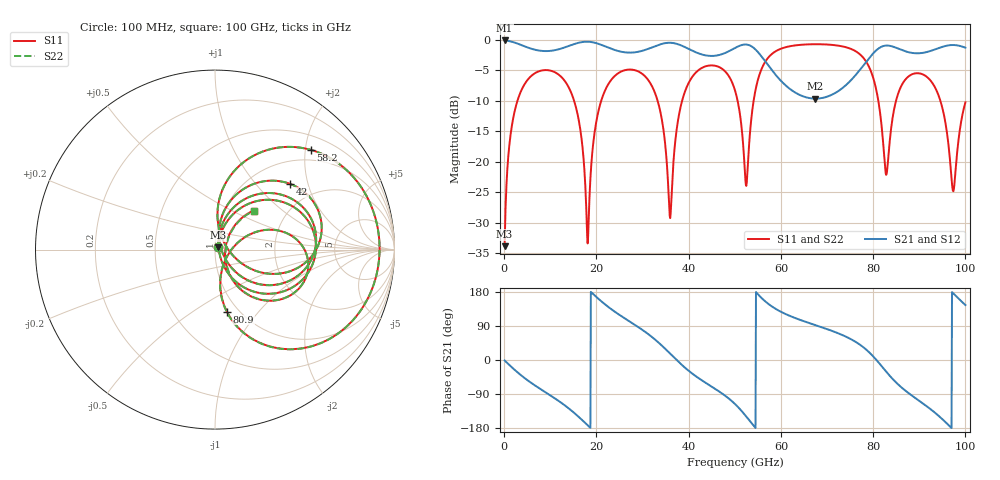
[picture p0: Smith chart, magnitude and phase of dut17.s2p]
! Touchstone file exported from HFSS 2026.1.0
!  File:  C:/ffzhzh/LocalFiles/Ansys_Project_Files/temp_train_TSV_RDL_17_1783614074_33328.aedt
!  Generated:  12:31:33 AM Jul 10, 2026
!  Design:  TSV_RDL
!  Project:  temp_train_TSV_RDL_17_1783614074_33328
! Variables:
!  h_bsmrdl = 4.06um
!  h_ox = 20um
!  h_rdl = 5um
!  h_sub = 80.31um
!  h_tmrdl = 3.18um
!  h_tsv = 80.31um
!  h_via = 3um
!  l_bsmrdl = 226.75um
!  l_sub = 3115.44um
!  l_tmrdl = 475.01um
!  m_sub = 200um
!  pitch = 54.62um
!  r_tsv = 8.07um
!  s_tmrdl = 10um
!  w_bsmrdl = 27.21um
!  w_sub = 500um
!  w_tmrdl = 17.84um
!  x_tsv_center1 = 483.93um
!  x_tsv_center2 = 737.89um
!  x_tsv_center3 = 1230.74um
!  x_tsv_center4 = 1484.7um
!  x_tsv_center5 = 1977.55um
!  x_tsv_center6 = 2231.51um
# GHz S MA R 50.000000
! Terminal data exported
! Port[1] = TM_RDL1_1_T1
! Port[2] = TM_RDL5_1_T1
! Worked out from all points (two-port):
!   1000 points, 100 MHz to 100 GHz, reference 50 ohm
!   highest |S21| = -0.14 dB at 100 MHz (marker M1); lowest = -9.7 dB at 67.5 GHz (marker M2)
!   |S21| within 3 dB of the highest: start of sweep to 56.18 GHz; 79.02 GHz to end of sweep
!   lowest |S11| = -33.8 dB at 100 MHz (marker M3), VSWR 1.04, Z = 51.6 + j1.3 ohm
!   |S11| at or under -10 dB: 15.15 GHz to 21.05 GHz (5.899 GHz wide, 32.6 % of centre); 33.26 GHz to 38.59 GHz (5.329 GHz wide, 14.8 % of centre); 94.57 GHz to end of sweep (the widest 3 of 6)
!   |S22| runs from -33.8 to -0.8 dB; largest |S21 - S12| = 1.7e-14
!   S11 on the Smith chart (normalised r, x): 100 MHz: 1.03, +0.03; 42 GHz: 1.47, +1.55; 58.2 GHz: 0.77, +2.12; 80.9 GHz: 0.88, -0.70; 100 GHz: 1.37, +0.66
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0.1  0.02031 38.4  0.9843 -1.2  0.9843 -1.2  0.02031 38.4
! Gamma 0 0 0 0
! Port Impedance 50 0 50 0
1.8  0.2102 63.8  0.9579 -20.8  0.9579 -20.8  0.2102 63.8
5.5  0.4881 30.4  0.8514 -57.2  0.8514 -57.2  0.4881 30.4
16.8  0.1521 -60.8  0.9534 -157.2  0.9534 -157.2  0.152 -60.9
18.1  0.0214 4.7  0.9613 -172.1  0.9613 -172.1  0.02124 4.9
22.8  0.4447 45.1  0.8535 138.0  0.8535 138.0  0.4448 45.1
33.4  0.3032 -38.8  0.9028 46.8  0.9028 46.8  0.3034 -39.0
36  0.03446 19.5  0.9421 16.6  0.9421 16.6  0.03355 19.1
38.2  0.2749 73.2  0.9021 -9.3  0.9021 -9.3  0.2746 73.3
42  0.5568 41.1  0.7752 -46.6  0.7752 -46.6  0.5565 41.1
50.1  0.3779 -20.8  0.8562 -116.7  0.8562 -116.7  0.3778 -20.9
52.5  0.06334 32.3  0.9116 -149.3  0.9116 -149.3  0.0627 32.3
54.7  0.4196 78.3  0.815 177.9  0.815 177.9  0.4195 78.3
58.2  0.7714 46.0  0.5522 140.1  0.5522 140.1  0.7713 46.0
66.7  0.9163 4.6  0.33 95.2  0.33 95.2  0.9163 4.5
67.5  0.917 1.6  0.3287 92.0  0.3287 92.0  0.917 1.5
80.9  0.3519 -79.1  0.831 -2.6  0.831 -2.6  0.3518 -79.4
83.4  0.122 14.1  0.8922 -38.9  0.8922 -38.9  0.121 14.5
86.3  0.4309 10.6  0.819 -74.0  0.819 -74.0  0.4305 10.7
92.2  0.4733 -34.8  0.8022 -127.4  0.8022 -127.4  0.4731 -34.7
97.3  0.05762 -11.7  0.9032 176.8  0.9032 176.8  0.06015 -11.2
100  0.3063 45.3  0.8588 145.0  0.8588 145.0  0.3069 44.8
